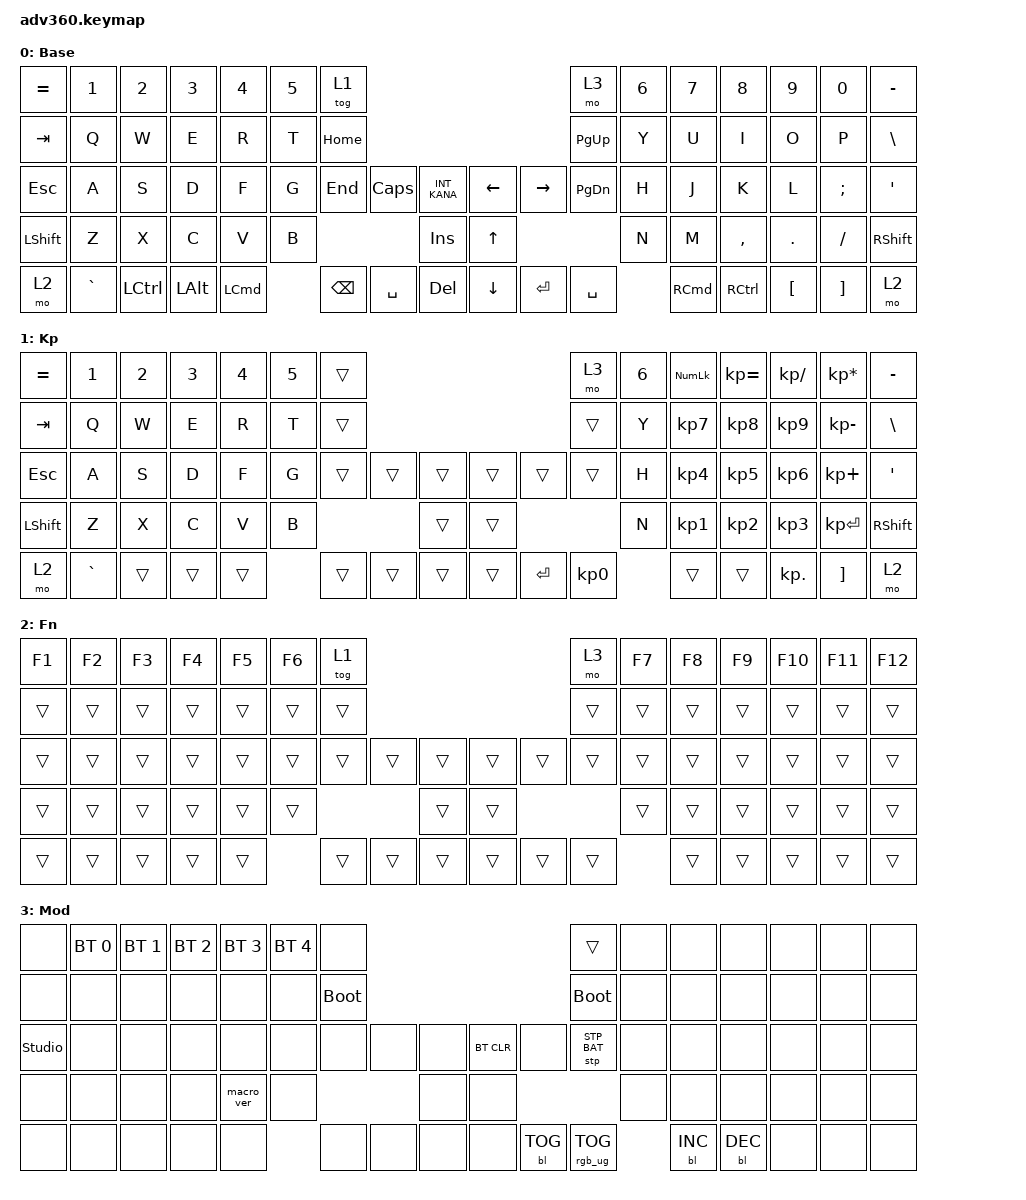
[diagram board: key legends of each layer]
#include <dt-bindings/zmk/stp.h>
#include <behaviors.dtsi>
#include <dt-bindings/zmk/backlight.h>
#include <dt-bindings/zmk/bt.h>
#include <dt-bindings/zmk/keys.h>
#include <dt-bindings/zmk/rgb.h>

/ {
    behaviors {
        #include "macros.dtsi"
      #include "version.dtsi"

        hm: homerow_mods {
            compatible = "zmk,behavior-hold-tap";
            label = "HOMEROW_MODS";
            #binding-cells = <2>;
            tapping-term-ms = <200>;
            quick_tap_ms = <175>;
            flavor = "tap-preferred";
            bindings = <&kp>, <&kp>;
        };
    };

    keymap {
        compatible = "zmk,keymap";

        default_layer {
            display-name = "Base";
            bindings = <
&kp EQUAL  &kp N1     &kp N2            &kp N3        &kp N4            &kp N5  &tog 1                                                                 &mo 3          &kp N6  &kp N7             &kp N8             &kp N9    &kp N0    &kp MINUS
&kp TAB    &kp Q      &kp W             &kp E         &kp R             &kp T   &kp HOME                                                               &kp PAGE_UP    &kp Y   &kp U              &kp I              &kp O     &kp P     &kp BSLH
&kp ESC    &kp A      &kp S             &kp D         &kp F             &kp G   &kp END        &kp CAPS   &kp INT_KANA      &kp LEFT  &kp RIGHT_ARROW  &kp PAGE_DOWN  &kp H   &kp J              &kp K              &kp L     &kp SEMI  &kp SQT
&kp LSHFT  &kp Z      &kp X             &kp C         &kp V             &kp B                             &kp INSERT        &kp UP                                    &kp N   &kp M              &kp COMMA          &kp DOT   &kp FSLH  &kp RSHFT
&mo 2      &kp GRAVE  &kp LEFT_CONTROL  &kp LEFT_ALT  &kp LEFT_COMMAND          &kp BACKSPACE  &kp SPACE  &kp DEL           &kp DOWN  &kp ENTER        &kp SPACE              &kp RIGHT_COMMAND  &kp RIGHT_CONTROL  &kp LBKT  &kp RBKT  &mo 2
            >;
        };

        keypad {
            display-name = "Kp";
            bindings = <
&kp EQUAL  &kp N1     &kp N2  &kp N3  &kp N4  &kp N5  &trans                                         &mo 3      &kp N6  &kp KP_NUM  &kp KP_EQUAL  &kp KP_DIVIDE  &kp KP_MULTIPLY  &kp MINUS
&kp TAB    &kp Q      &kp W   &kp E   &kp R   &kp T   &trans                                         &trans     &kp Y   &kp KP_N7   &kp KP_N8     &kp KP_N9      &kp KP_MINUS     &kp BSLH
&kp ESC    &kp A      &kp S   &kp D   &kp F   &kp G   &trans  &trans  &trans      &trans  &trans     &trans     &kp H   &kp KP_N4   &kp KP_N5     &kp KP_N6      &kp KP_PLUS      &kp SQT
&kp LSHFT  &kp Z      &kp X   &kp C   &kp V   &kp B                   &trans      &trans                        &kp N   &kp KP_N1   &kp KP_N2     &kp KP_N3      &kp KP_ENTER     &kp RSHFT
&mo 2      &kp GRAVE  &trans  &trans  &trans          &trans  &trans  &trans      &trans  &kp ENTER  &kp KP_N0          &trans      &trans        &kp KP_DOT     &kp RBKT         &mo 2
            >;
        };

        fn {
            display-name = "Fn";
            bindings = <
&kp F1  &kp F2  &kp F3  &kp F4  &kp F5  &kp F6  &tog 1                                      &mo 3   &kp F7  &kp F8  &kp F9  &kp F10  &kp F11  &kp F12
&trans  &trans  &trans  &trans  &trans  &trans  &trans                                      &trans  &trans  &trans  &trans  &trans   &trans   &trans
&trans  &trans  &trans  &trans  &trans  &trans  &trans  &trans  &trans      &trans  &trans  &trans  &trans  &trans  &trans  &trans   &trans   &trans
&trans  &trans  &trans  &trans  &trans  &trans                  &trans      &trans                  &trans  &trans  &trans  &trans   &trans   &trans
&trans  &trans  &trans  &trans  &trans          &trans  &trans  &trans      &trans  &trans  &trans          &trans  &trans  &trans   &trans   &trans
            >;
        };

        mod {
            display-name = "Mod";
            bindings = <
&none           &bt BT_SEL 0  &bt BT_SEL 1  &bt BT_SEL 2  &bt BT_SEL 3  &bt BT_SEL 4  &none                                                  &trans           &none  &none       &none       &none  &none  &none
&none           &none         &none         &none         &none         &none         &bootloader                                            &bootloader      &none  &none       &none       &none  &none  &none
&studio_unlock  &none         &none         &none         &none         &none         &none        &none  &none      &bt BT_CLR  &none       &stp STP_BAT     &none  &none       &none       &none  &none  &none
&none           &none         &none         &none         &macro_ver    &none                             &none      &none                                    &none  &none       &none       &none  &none  &none
&none           &none         &none         &none         &none                       &none        &none  &none      &none       &bl BL_TOG  &rgb_ug RGB_TOG         &bl BL_INC  &bl BL_DEC  &none  &none  &none
            >;
        };

        extra1 {
            display-name = "Red";
            status = "reserved";
        };

        extra2 {
            display-name = "Purple";
            status = "reserved";
        };

        extra3 {
            display-name = "Cyan";
            status = "reserved";
        };

        extra4 {
            display-name = "Yellow";
            status = "reserved";
        };
    };
};
